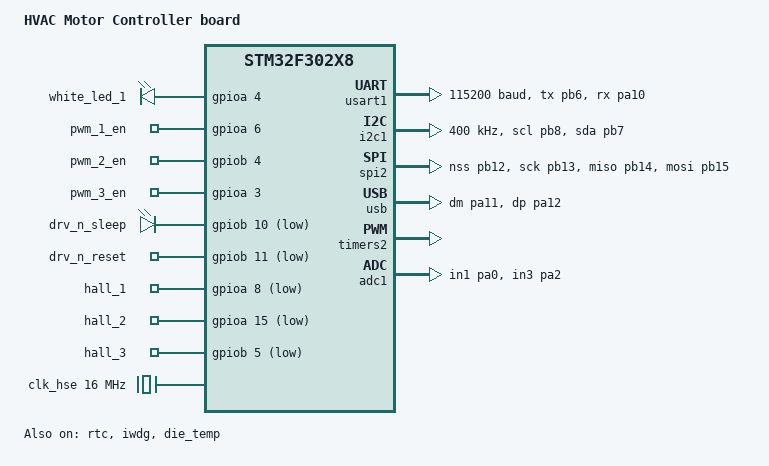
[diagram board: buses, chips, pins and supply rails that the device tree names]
/*
 * Copyright (c) 2017 I-SENSE group of ICCS
 *
 * SPDX-License-Identifier: Apache-2.0
 */

/dts-v1/;
#include <st/f3/stm32f302X8.dtsi>
#include <st/f3/stm32f302c(6-8)tx-pinctrl.dtsi>

/ {
	model = "HVAC Motor Controller board";
	compatible = "sid,hvac_motor";

	chosen {
		zephyr,console = &usart1;
		zephyr,shell-uart = &usart1;
		zephyr,sram = &sram0;
		zephyr,flash = &flash0;
	};

	leds {
		compatible = "gpio-leds";
		white_led_1: wled0 {
			gpios = <&gpioa 4 GPIO_ACTIVE_HIGH>;
		};
	};

	pwm_ctrl: pwm_ctrl {
		compatible = "gpio-leds";
		pwm_1_en: pwm1_en {
			gpios = <&gpioa 6 GPIO_ACTIVE_HIGH>;
		};
		pwm_2_en: pwm2_en {
			gpios = <&gpiob 4 GPIO_ACTIVE_HIGH>;
		};
		pwm_3_en: pwm3_en {
			gpios = <&gpioa 3 GPIO_ACTIVE_HIGH>;
		};
	};

	drv8313_ctrl: drv8313_ctrl {
		compatible = "gpio-leds";
		drv_n_sleep: drv_n_sleep {
			gpios = <&gpiob 10 GPIO_ACTIVE_LOW>;
		};
		drv_n_reset: drv_n_reset {
			gpios = <&gpiob 11 GPIO_ACTIVE_LOW>;
		};
	};

	inputs {
		compatible = "gpio-keys";
		hall_1: hall1 {
			gpios = <&gpioa 8 GPIO_ACTIVE_LOW>;
		};
		hall_2: hall2 {
			gpios = <&gpioa 15 GPIO_ACTIVE_LOW>;
		};
		hall_3: hall3 {
			gpios = <&gpiob 5 GPIO_ACTIVE_LOW>;
		};

	};

	aliases {
		led0 = &white_led_1;
		watchdog0 = &iwdg;
		die-temp0 = &die_temp;
	};
};

&clk_lsi {
	status = "okay";
};

&clk_hse {
	clock-frequency = <DT_FREQ_M(16)>; /* 16 MHz crystal */
	status = "okay";
};

&pll {
	prediv = <2>;
	mul = <9>;
	clocks = <&clk_hse>;
	status = "okay";
};

&rcc {
	clocks = <&pll>;
	clock-frequency = <DT_FREQ_M(72)>;
	ahb-prescaler = <1>;
	apb1-prescaler = <2>;
	apb2-prescaler = <2>;
};

&usart1 {
	pinctrl-0 = <&usart1_tx_pb6 &usart1_rx_pa10>;
	pinctrl-names = "default";
	current-speed = <115200>;
	status = "okay";
};

&i2c1 {
	pinctrl-0 = <&i2c1_scl_pb8 &i2c1_sda_pb7>;
	pinctrl-names = "default";
	status = "okay";
	clock-frequency = <I2C_BITRATE_FAST>;
};

&spi2 {
	pinctrl-0 = <&spi2_nss_pb12 &spi2_sck_pb13
		     &spi2_miso_pb14 &spi2_mosi_pb15>;
	pinctrl-names = "default";
	status = "okay";
};

zephyr_udc0: &usb {
	pinctrl-0 = <&usb_dm_pa11 &usb_dp_pa12>;
	pinctrl-names = "default";
	status = "okay";
};

&rtc {
	clocks = <&rcc STM32_CLOCK_BUS_APB1 0x10000000>,
		 <&rcc STM32_SRC_LSI RTC_SEL(2)>;
	status = "okay";

	backup_regs {
		status = "okay";
	};
};

&flash0 {

	partitions {
		compatible = "fixed-partitions";
		#address-cells = <1>;
		#size-cells = <1>;

		/* Set 6Kb of storage at the end of the 256Kb of flash */
		storage_partition: partition@3e800 {
			label = "storage";
			reg = <0x0003e800 DT_SIZE_K(6)>;
		};
	};
};

&iwdg {
	status = "okay";
};

&timers2 {
	st,prescaler = <10000>;
	status = "okay";
	pwm1: pwm {
		pinctrl-0 = <&tim2_ch1_pa5 &tim2_ch2_pa1 &tim2_ch3_pa9>;
		pinctrl-names = "default";
		status = "okay";
	};
};

&adc1 {
	pinctrl-0 = <&adc1_in1_pa0 &adc1_in3_pa2>;
	pinctrl-names = "default";
	status = "okay";
};

&die_temp {
	status = "okay";
};
